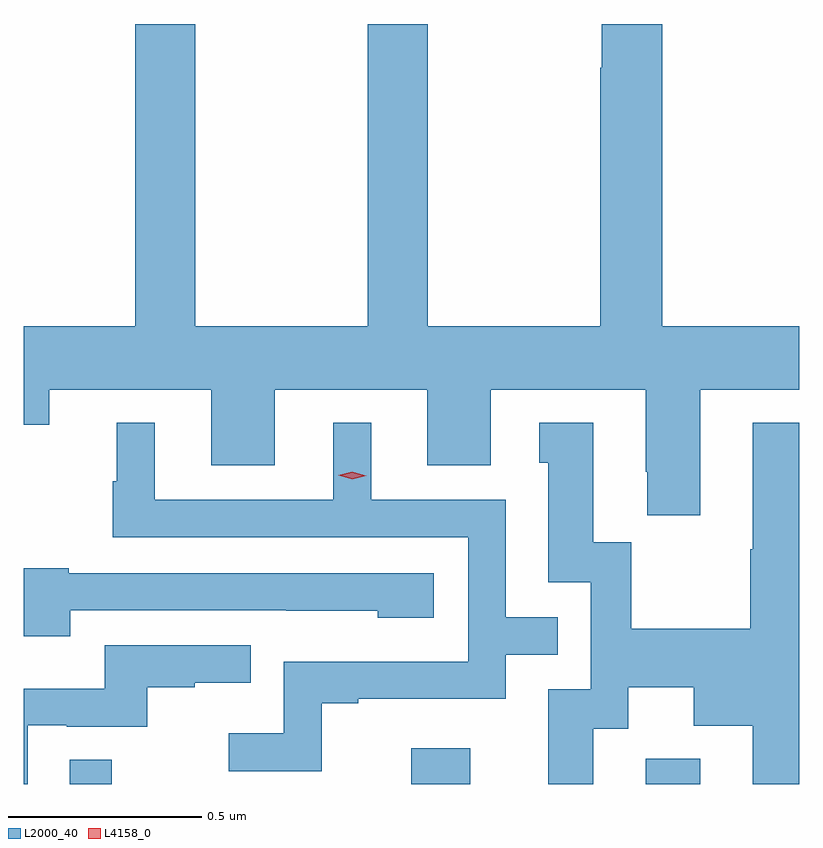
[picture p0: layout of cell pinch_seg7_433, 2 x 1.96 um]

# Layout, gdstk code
import gdstk
lib = gdstk.Library(unit=1e-6, precision=1e-09)
def R(c, l, rs):  # rectangles x0, y0, x1, y1
    for r in rs: c.add(gdstk.rectangle(r[:2], r[2:], *l))
def P(c, l, *ps):  # polygons
    for p in ps: c.add(gdstk.Polygon(p, *l))
L2000_40 = (2000, 40)
L4158_0 = (4158, 0)

pinch_seg7_433 = lib.new_cell('pinch_seg7_433')
R(pinch_seg7_433, L2000_40, [(567.108,1011.587,567.217,1011.65), (567.989,1011.587,568.141,1011.679), (568.595,1011.587,568.735,1011.652)])
P(pinch_seg7_433, L2000_40, [(568.735,1012.604),(568.99,1012.604),(568.99,1012.768),(568.637,1012.768),(568.637,1013.548),(568.481,1013.548),(568.481,1013.435),(568.477,1013.435),(568.477,1012.768),(568.032,1012.768),(568.032,1013.548),(567.877,1013.548),(567.877,1012.768),(567.432,1012.768),(567.432,1013.548),(567.277,1013.548),(567.277,1012.768),(566.99,1012.768),(566.99,1012.514),(567.055,1012.514),(567.055,1012.604),(567.473,1012.604),(567.473,1012.41),(567.637,1012.41),(567.637,1012.604),(568.031,1012.604),(568.031,1012.41),(568.195,1012.41),(568.195,1012.604),(568.595,1012.604),(568.595,1012.393),(568.598,1012.393),(568.598,1012.281),(568.735,1012.281)],
  [(568.459,1011.73),(568.549,1011.73),(568.549,1011.836),(568.718,1011.836),(568.718,1011.737),(568.871,1011.737),(568.871,1011.587),(568.99,1011.587),(568.99,1012.519),(568.871,1012.519),(568.871,1012.193),(568.864,1012.193),(568.864,1011.988),(568.557,1011.988),(568.557,1012.211),(568.459,1012.211),(568.459,1012.519),(568.319,1012.519),(568.319,1012.416),(568.343,1012.416),(568.343,1012.107),(568.452,1012.107),(568.452,1011.831),(568.343,1011.831),(568.343,1011.587),(568.459,1011.587)],
  [(567.759,1011.795),(567.853,1011.795),(567.853,1011.807),(568.233,1011.807),(568.233,1011.921),(568.367,1011.921),(568.367,1012.017),(568.233,1012.017),(568.233,1012.32),(567.886,1012.32),(567.886,1012.519),(567.788,1012.519),(567.788,1012.32),(567.328,1012.32),(567.328,1012.519),(567.23,1012.519),(567.23,1012.368),(567.219,1012.368),(567.219,1012.224),(568.137,1012.224),(568.137,1011.903),(567.66,1011.903),(567.66,1011.718),(567.519,1011.718),(567.519,1011.62),(567.759,1011.62)],
  [(567.109,1012.035),(567.667,1012.035),(567.667,1012.034),(567.903,1012.034),(567.903,1012.016),(568.048,1012.016),(568.048,1012.131),(567.105,1012.131),(567.105,1012.144),(566.99,1012.144),(566.99,1011.968),(567.109,1011.968)],
  [(567,1011.738),(567.1,1011.738),(567.1,1011.735),(567.308,1011.735),(567.308,1011.837),(567.431,1011.837),(567.431,1011.848),(567.575,1011.848),(567.575,1011.945),(567.198,1011.945),(567.198,1011.833),(566.99,1011.833),(566.99,1011.587),(567,1011.587)])
P(pinch_seg7_433, L4158_0, [(567.837,1012.373),(567.801,1012.384),(567.801,1012.384),(567.801,1012.384),(567.837,1012.393),(567.873,1012.382),(567.873,1012.382),(567.873,1012.382)])

lib.write_gds('pinch_seg7_433.gds')
